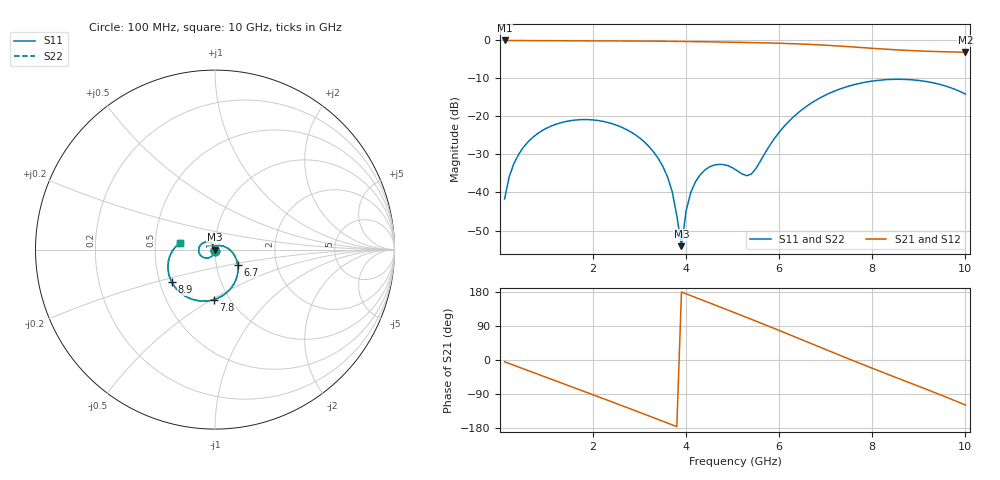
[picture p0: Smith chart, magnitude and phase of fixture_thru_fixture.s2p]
! Created Wed Feb  5 17:18:51 2025
# hz S ma R 50
! 2 Port Network Data from SP1.SP block
! freq  magS11  angS11  magS21  angS21  magS12  angS12  magS22  angS22
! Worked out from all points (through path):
!   100 points, 100 MHz to 10 GHz, reference 50 ohm
!   highest |S21| = -0.01 dB at 100 MHz (marker M1); lowest = -3.1 dB at 10 GHz (marker M2)
!   group delay of S21, straight-line fit = 134 ps
!   lowest |S11| = -54.1 dB at 3.9 GHz (marker M3), VSWR 1.00, Z = 49.8 - j0.0347 ohm
!   |S11| at or under -10 dB: start of sweep to end of sweep
!   |S22| runs from -54.1 to -10.2 dB; largest |S21 - S12| = 0
!   S11 on the Smith chart (normalised r, x): 100 MHz: 1.00, -0.02; 6.7 GHz: 1.27, -0.22; 7.8 GHz: 0.85, -0.51; 8.9 GHz: 0.58, -0.23; 10 GHz: 0.67, +0.05
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1e8  0.008241 -95.5  0.9993 -4.6  0.9993 -4.6  0.008241 -95.5
3e8  0.02402 -105.4  0.9981 -13.9  0.9981 -13.9  0.02402 -105.4
6e8  0.04612 -119.5  0.9959 -27.7  0.9959 -27.7  0.04612 -119.6
1.2e9  0.07892 -147.3  0.9913 -55.2  0.9913 -55.2  0.07892 -147.3
1.8e9  0.09105 -175.0  0.9874 -82.6  0.9874 -82.6  0.09106 -175.1
2.6e9  0.07285 147.7  0.9836 -119.5  0.9836 -119.5  0.07285 147.7
3.4e9  0.02809 111.0  0.9771 -156.9  0.9771 -156.9  0.02809 110.9
3.7e9  0.0103 102.3  0.9731 -171.1  0.9731 -171.1  0.0103 102.2
3.9e9  0.001968 -169.8  0.9699 179.4  0.9699 179.4  0.001969 -169.9
4e9  0.00577 -122.9  0.9681 174.7  0.9681 174.7  0.005772 -123.0
4.1e9  0.01 -120.2  0.9662 169.9  0.9662 169.9  0.01001 -120.4
4.3e9  0.01705 -127.2  0.9622 160.4  0.9622 160.4  0.01706 -127.3
4.7e9  0.02347 -151.4  0.9536 141.3  0.9536 141.3  0.02349 -151.6
5.1e9  0.0193 167.2  0.9443 122.0  0.9443 122.0  0.01937 166.9
5.4e9  0.01747 101.2  0.9367 107.4  0.9367 107.4  0.01758 101.2
5.9e9  0.05156 20.9  0.9214 82.8  0.9214 82.8  0.0516 21.0
6.7e9  0.1514 -33.3  0.8841 42.8  0.8841 42.8  0.1514 -33.4
7.2e9  0.2173 -60.6  0.8503 17.7  0.8503 17.7  0.2172 -60.7
7.8e9  0.2785 -91.1  0.8036 -12.0  0.8036 -12.0  0.2784 -91.2
8.4e9  0.3071 -119.7  0.7597 -41.0  0.7597 -41.0  0.3069 -119.9
8.9e9  0.3017 -142.8  0.7319 -64.8  0.7319 -64.8  0.3015 -142.9
1e10  0.1968 169.3  0.6987 -118.7  0.6987 -118.7  0.1967 169.1
